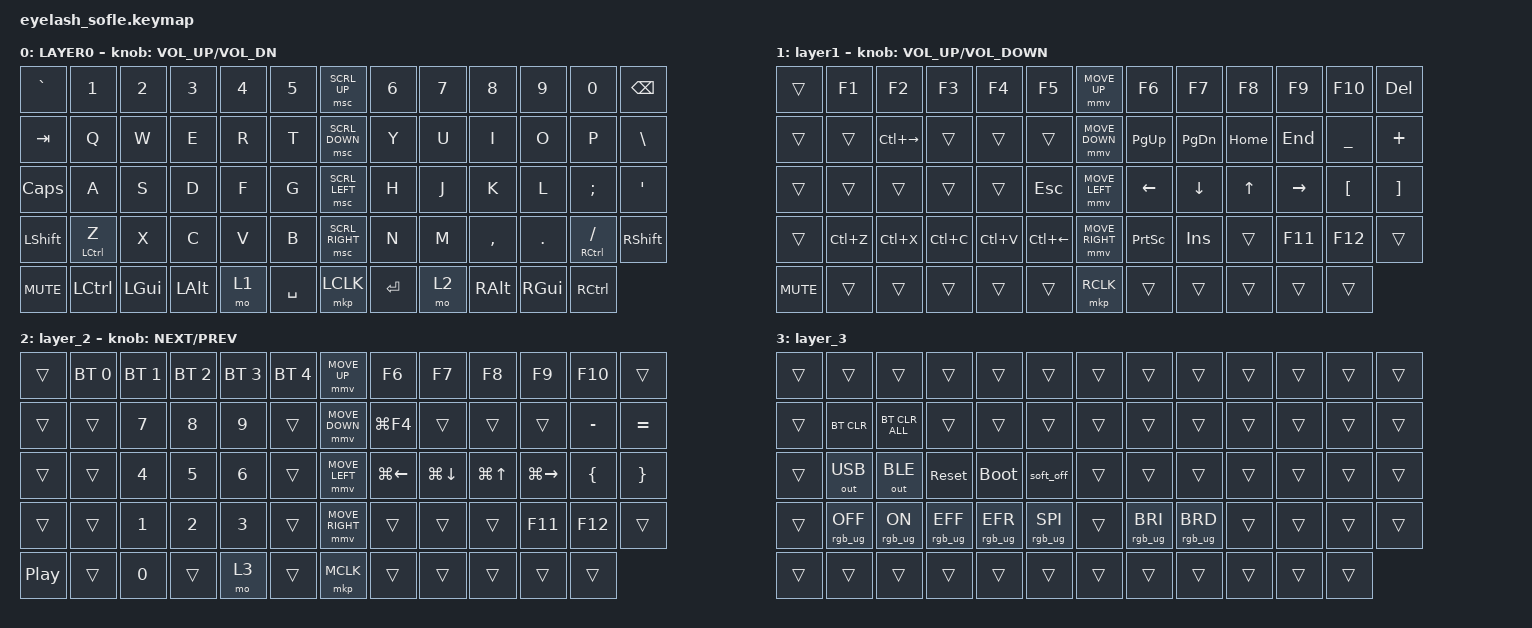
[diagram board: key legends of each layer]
#define ZMK_POINTING_DEFAULT_MOVE_VAL 1200  // 600
#define ZMK_POINTING_DEFAULT_SCRL_VAL 25   // 10

#include <input/processors.dtsi>
#include <zephyr/dt-bindings/input/input-event-codes.h>
#include <behaviors.dtsi>
#include <dt-bindings/zmk/bt.h>
#include <dt-bindings/zmk/keys.h>
#include <dt-bindings/zmk/outputs.h>
#include <dt-bindings/zmk/pointing.h>
#include <dt-bindings/zmk/rgb.h>

&mmv_input_listener { input-processors = <&zip_xy_scaler 2 1>; };

&msc_input_listener { input-processors = <&zip_scroll_scaler 2 1>; };

&msc {
    acceleration-exponent = <1>;      // 0
    time-to-max-speed-ms = <100>;       // 300
    delay-ms = <0>;                   // 0
};

&mmv {
    time-to-max-speed-ms = <500>;
    acceleration-exponent = <1>;
    trigger-period-ms = <16>;
};

/ {
    scroll_encoder: scroll_encoder {
        compatible = "zmk,behavior-sensor-rotate";
        #sensor-binding-cells = <0>;
        bindings = <&msc SCRL_DOWN>, <&msc SCRL_UP>;

        tap-ms = <100>;
    };

    behaviors {
    };

    keymap {
        compatible = "zmk,keymap";

        layer0 {
            bindings = <
&kp GRAVE     &kp N1       &kp N2        &kp N3        &kp N4  &kp N5       &msc SCRL_UP     &kp N6     &kp N7  &kp N8         &kp N9         &kp N0                   &kp BACKSPACE
&kp TAB       &kp Q        &kp W         &kp E         &kp R   &kp T        &msc SCRL_DOWN   &kp Y      &kp U   &kp I          &kp O          &kp P                    &kp BSLH
&kp CAPSLOCK  &kp A        &kp S         &kp D         &kp F   &kp G        &msc SCRL_LEFT   &kp H      &kp J   &kp K          &kp L          &kp SEMI                 &kp APOS
&kp LSHFT     &mt LCTRL Z  &kp X         &kp C         &kp V   &kp B        &msc SCRL_RIGHT  &kp N      &kp M   &kp COMMA      &kp DOT        &mt RIGHT_CONTROL SLASH  &kp RIGHT_SHIFT
&kp C_MUTE    &kp LCTRL    &kp LEFT_GUI  &kp LEFT_ALT  &mo 1   &kp SPACE    &mkp LCLK        &kp ENTER  &mo 2   &kp RIGHT_ALT  &kp RIGHT_GUI  &kp RCTRL
            >;

            sensor-bindings = <&inc_dec_kp C_VOLUME_UP C_VOL_DN>;
            display-name = "LAYER0";
        };

        layer_1 {
            bindings = <
&trans      &kp F1     &kp F2         &kp F3     &kp F4     &kp F5          &mmv MOVE_UP     &kp F6           &kp F7          &kp F8        &kp F9     &kp F10           &kp DEL
&trans      &trans     &kp LC(RIGHT)  &trans     &trans     &trans          &mmv MOVE_DOWN   &kp PG_UP        &kp PG_DN       &kp HOME      &kp END    &kp UNDERSCORE    &kp PLUS
&trans      &trans     &trans         &trans     &trans     &kp ESC         &mmv MOVE_LEFT   &kp LEFT         &kp DOWN_ARROW  &kp UP_ARROW  &kp RIGHT  &kp LEFT_BRACKET  &kp RIGHT_BRACKET
&trans      &kp LC(Z)  &kp LC(X)      &kp LC(C)  &kp LC(V)  &kp LC(LEFT)    &mmv MOVE_RIGHT  &kp PRINTSCREEN  &kp INSERT      &trans        &kp F11    &kp F12           &trans
&kp C_MUTE  &trans     &trans         &trans     &trans     &trans          &mkp RCLK        &trans           &trans          &trans        &trans     &trans
            >;

            display-name = "layer1";
            sensor-bindings = <&inc_dec_kp C_VOLUME_UP C_VOLUME_DOWN>;
        };

        layer_2 {
            bindings = <
&trans    &bt BT_SEL 0  &bt BT_SEL 1  &bt BT_SEL 2  &bt BT_SEL 3  &bt BT_SEL 4    &mmv MOVE_UP     &kp F6        &kp F7        &kp F8      &kp F9         &kp F10    &trans
&trans    &trans        &kp NUMBER_7  &kp NUMBER_8  &kp NUMBER_9  &trans          &mmv MOVE_DOWN   &kp LG(F4)    &trans        &trans      &trans         &kp MINUS  &kp EQUAL
&trans    &trans        &kp NUMBER_4  &kp NUMBER_5  &kp NUMBER_6  &trans          &mmv MOVE_LEFT   &kp LG(LEFT)  &kp LG(DOWN)  &kp LG(UP)  &kp LG(RIGHT)  &kp LBRC   &kp RBRC
&trans    &trans        &kp NUMBER_1  &kp NUMBER_2  &kp NUMBER_3  &trans          &mmv MOVE_RIGHT  &trans        &trans        &trans      &kp F11        &kp F12    &trans
&kp C_PP  &trans        &kp NUMBER_0  &trans        &mo 3         &trans          &mkp MCLK        &trans        &trans        &trans      &trans         &trans
            >;

            sensor-bindings = <&inc_dec_kp C_NEXT C_PREV>;
        };

        layer_3 {
            bindings = <
&trans  &trans           &trans          &trans           &trans           &trans             &trans  &trans           &trans           &trans  &trans  &trans  &trans
&trans  &bt BT_CLR       &bt BT_CLR_ALL  &trans           &trans           &trans             &trans  &trans           &trans           &trans  &trans  &trans  &trans
&trans  &out OUT_USB     &out OUT_BLE    &sys_reset       &bootloader      &soft_off          &trans  &trans           &trans           &trans  &trans  &trans  &trans
&trans  &rgb_ug RGB_OFF  &rgb_ug RGB_ON  &rgb_ug RGB_EFF  &rgb_ug RGB_EFR  &rgb_ug RGB_SPI    &trans  &rgb_ug RGB_BRI  &rgb_ug RGB_BRD  &trans  &trans  &trans  &trans
&trans  &trans           &trans          &trans           &trans           &trans             &trans  &trans           &trans           &trans  &trans  &trans
            >;
        };
    };
};
